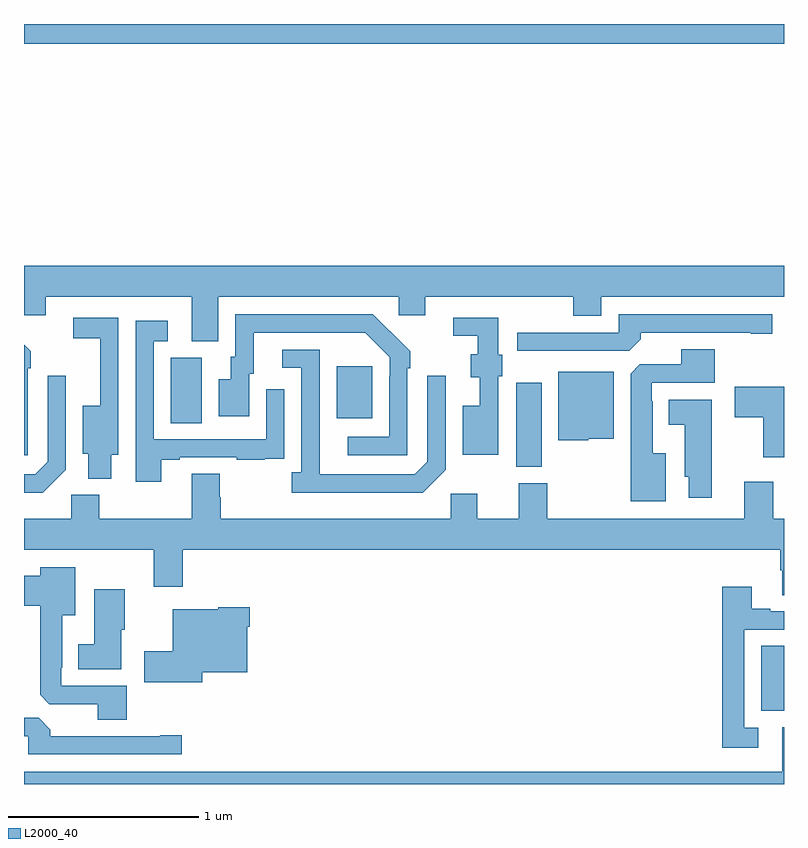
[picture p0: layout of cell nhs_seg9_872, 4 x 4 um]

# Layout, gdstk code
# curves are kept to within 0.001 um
import gdstk
lib = gdstk.Library(unit=1e-6, precision=1e-09)
def R(c, l, rs):  # rectangles x0, y0, x1, y1
    for r in rs: c.add(gdstk.rectangle(r[:2], r[2:], *l))
def P(c, l, *ps):  # polygons
    for p in ps: c.add(gdstk.Polygon(p, *l))
L2000_40 = (2000, 40)

nhs_seg9_872 = lib.new_cell('nhs_seg9_872')
R(nhs_seg9_872, L2000_40, [(160.88,1216.885,161,1217.228), (159.59,1218.169,159.724,1218.613), (157.772,1218.4,157.936,1218.744), (158.645,1218.425,158.833,1218.7), (157,1220.396,161,1220.5)])
P(nhs_seg9_872, L2000_40, [(158.023,1219.064),(158.973,1219.064),(158.973,1218.966),(159.112,1218.966),(159.112,1219.064),(159.892,1219.064),(159.892,1218.965),(160.039,1218.965),(160.039,1219.064),(161,1219.064),(161,1219.228),(157,1219.228),(157,1218.966),(157.114,1218.966),(157.114,1219.064),(157.883,1219.064),(157.883,1218.829),(158.023,1218.829)],
  [(160.247,1218.842),(160.247,1218.876),(160.826,1218.876),(160.826,1218.871),(160.939,1218.871),(160.939,1218.972),(160.131,1218.972),(160.131,1218.876),(159.597,1218.876),(159.597,1218.78),(160.185,1218.78)],
  [(159.018,1218.689),(159.033,1218.689),(159.033,1218.777),(158.836,1218.972),(158.112,1218.972),(158.112,1218.75),(158.087,1218.75),(158.087,1218.631),(158.024,1218.631),(158.024,1218.435),(158.185,1218.435),(158.185,1218.66),(158.209,1218.66),(158.209,1218.876),(158.797,1218.876),(158.925,1218.747),(158.925,1218.647),(158.922,1218.647),(158.922,1218.327),(158.703,1218.327),(158.703,1218.231),(159.018,1218.231)],
  [(159.495,1218.645),(159.516,1218.645),(159.516,1218.759),(159.495,1218.759),(159.495,1218.954),(159.258,1218.954),(159.258,1218.858),(159.387,1218.858),(159.387,1218.763),(159.35,1218.763),(159.35,1218.641),(159.398,1218.641),(159.398,1218.49),(159.308,1218.49),(159.308,1218.233),(159.495,1218.233)],
  [(157.459,1218.233),(157.497,1218.233),(157.497,1218.954),(157.26,1218.954),(157.26,1218.846),(157.4,1218.846),(157.4,1218.49),(157.31,1218.49),(157.31,1218.237),(157.337,1218.237),(157.337,1218.107),(157.459,1218.107)],
  [(157.723,1218.207),(157.819,1218.207),(157.819,1218.219),(158.119,1218.219),(158.119,1218.207),(158.267,1218.207),(158.267,1218.213),(158.369,1218.213),(158.369,1218.322),(158.37,1218.322),(158.37,1218.577),(158.274,1218.577),(158.274,1218.315),(157.683,1218.315),(157.683,1218.831),(157.756,1218.831),(157.756,1218.937),(157.587,1218.937),(157.587,1218.09),(157.723,1218.09)],
  [(157.02,1218.689),(157.035,1218.689),(157.035,1218.777),(157,1218.812),(157,1218.231),(157.02,1218.231)],
  [(160.378,1218.241),(160.309,1218.241),(160.309,1218.515),(160.305,1218.515),(160.305,1218.612),(160.636,1218.612),(160.636,1218.787),(160.46,1218.787),(160.46,1218.708),(160.242,1218.708),(160.193,1218.659),(160.193,1217.987),(160.378,1217.987)],
  [(159.219,1218.153),(159.219,1218.649),(159.123,1218.649),(159.123,1218.195),(159.057,1218.129),(158.557,1218.129),(158.556,1218.786),(158.358,1218.786),(158.358,1218.69),(158.46,1218.69),(158.46,1218.142),(158.409,1218.142),(158.409,1218.032),(159.098,1218.032)],
  [(159.969,1218.317),(160.105,1218.317),(160.105,1218.67),(159.812,1218.67),(159.812,1218.308),(159.969,1218.308)],
  [(157.221,1218.155),(157.221,1218.649),(157.125,1218.649),(157.125,1218.195),(157.059,1218.129),(157,1218.129),(157,1218.032),(157.098,1218.032)],
  [(161,1218.592),(160.74,1218.592),(160.74,1218.43),(160.892,1218.43),(160.892,1218.219),(161,1218.219)],
  [(160.621,1218.523),(160.394,1218.523),(160.394,1218.392),(160.478,1218.392),(160.478,1218.117),(160.499,1218.117),(160.499,1218.006),(160.621,1218.006)],
  [(161,1217.896),(160.943,1217.896),(160.943,1218.091),(160.79,1218.091),(160.79,1217.896),(159.753,1217.896),(159.753,1218.084),(159.605,1218.084),(159.605,1217.896),(159.385,1217.896),(159.385,1218.028),(159.246,1218.028),(159.246,1217.896),(158.036,1217.896),(158.036,1218.009),(158.031,1218.009),(158.031,1218.134),(157.883,1218.134),(157.883,1217.896),(157.395,1217.896),(157.395,1218.022),(157.248,1218.022),(157.248,1217.896),(157,1217.896),(157,1217.732),(157.682,1217.732),(157.682,1217.538),(157.835,1217.538),(157.835,1217.732),(160.979,1217.732),(160.979,1217.626),(160.991,1217.626),(160.991,1217.494),(161,1217.494)],
  [(157.541,1217.016),(157.197,1217.016),(157.197,1217.113),(157.201,1217.113),(157.201,1217.387),(157.27,1217.387),(157.27,1217.641),(157.085,1217.641),(157.085,1217.596),(157,1217.596),(157,1217.438),(157.085,1217.438),(157.085,1216.969),(157.134,1216.92),(157.388,1216.92),(157.388,1216.837),(157.541,1216.837)],
  [(160.864,1216.797),(160.791,1216.797),(160.791,1217.313),(161,1217.313),(161,1217.409),(160.927,1217.409),(160.927,1217.422),(160.831,1217.422),(160.831,1217.539),(160.675,1217.539),(160.675,1216.692),(160.864,1216.692)],
  [(157.513,1217.313),(157.531,1217.313),(157.531,1217.524),(157.37,1217.524),(157.37,1217.236),(157.286,1217.236),(157.286,1217.105),(157.513,1217.105)],
  [(157.939,1217.087),(158.176,1217.087),(158.176,1217.327),(158.189,1217.327),(158.189,1217.431),(158.022,1217.431),(158.022,1217.419),(157.784,1217.419),(157.784,1217.199),(157.632,1217.199),(157.632,1217.036),(157.939,1217.036)],
  [(157.831,1216.757),(157.718,1216.757),(157.718,1216.752),(157.139,1216.752),(157.139,1216.786),(157.077,1216.848),(157,1216.848),(157,1216.752),(157.023,1216.752),(157.023,1216.656),(157.831,1216.656)],
  [(161,1216.8),(160.991,1216.8),(160.991,1216.564),(157,1216.564),(157,1216.5),(161,1216.5)])

lib.write_gds('nhs_seg9_872.gds')
